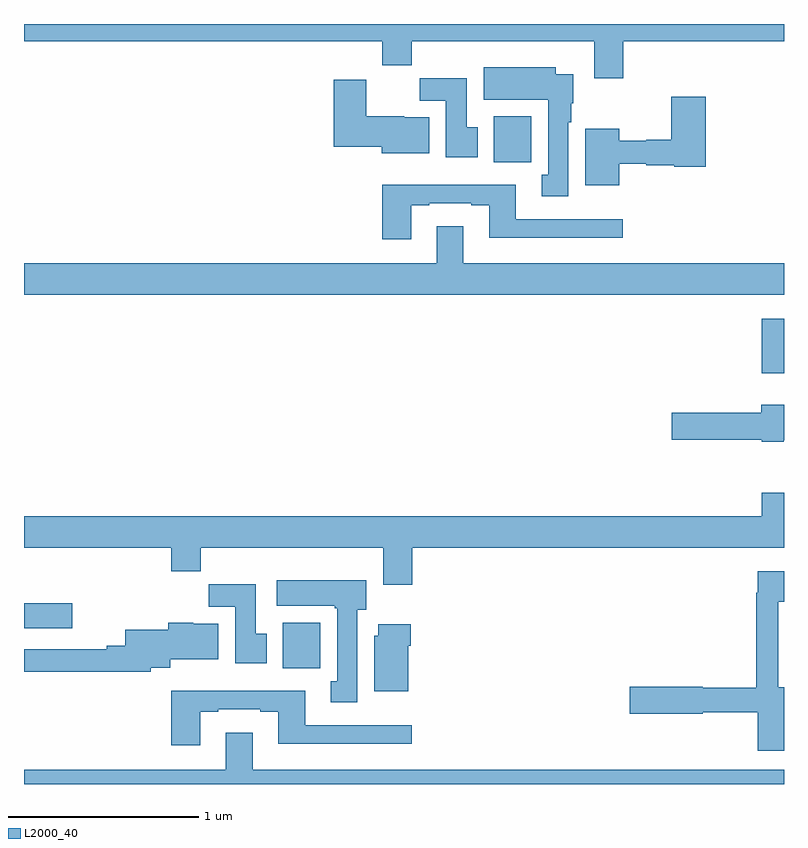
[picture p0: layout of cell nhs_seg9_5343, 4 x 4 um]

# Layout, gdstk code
import gdstk
lib = gdstk.Library(unit=1e-6, precision=1e-09)
def R(c, l, rs):  # rectangles x0, y0, x1, y1
    for r in rs: c.add(gdstk.rectangle(r[:2], r[2:], *l))
def P(c, l, *ps):  # polygons
    for p in ps: c.add(gdstk.Polygon(p, *l))
L2000_40 = (2000, 40)

nhs_seg9_5343 = lib.new_cell('nhs_seg9_5343')
R(nhs_seg9_5343, L2000_40, [(422.363,1205.108,422.56,1205.35), (421,1205.321,421.255,1205.451), (424.883,1206.662,425,1206.949), (423.473,1207.772,423.67,1208.014)])
P(nhs_seg9_5343, L2000_40, [(424.154,1208.408),(425,1208.408),(425,1208.5),(421,1208.5),(421,1208.408),(422.885,1208.408),(422.885,1208.284),(423.041,1208.284),(423.041,1208.408),(424.001,1208.408),(424.001,1208.214),(424.154,1208.214)],
  [(423.865,1207.982),(423.88,1207.982),(423.88,1208.082),(423.892,1208.082),(423.892,1208.236),(423.799,1208.236),(423.799,1208.272),(423.419,1208.272),(423.419,1208.102),(423.758,1208.102),(423.758,1207.706),(423.725,1207.706),(423.725,1207.593),(423.865,1207.593)],
  [(423.388,1207.956),(423.331,1207.956),(423.331,1208.214),(423.082,1208.214),(423.082,1208.096),(423.221,1208.096),(423.221,1207.8),(423.388,1207.8)],
  [(423.133,1208.008),(423,1208.008),(423,1208.014),(422.8,1208.014),(422.8,1208.206),(422.63,1208.206),(422.63,1207.853),(422.882,1207.853),(422.882,1207.82),(423.133,1207.82)],
  [(424.132,1207.764),(424.275,1207.764),(424.275,1207.756),(424.422,1207.756),(424.422,1207.748),(424.589,1207.748),(424.589,1208.116),(424.406,1208.116),(424.406,1207.892),(424.275,1207.892),(424.275,1207.885),(424.132,1207.885),(424.132,1207.948),(423.953,1207.948),(423.953,1207.652),(424.132,1207.652)],
  [(423.037,1207.545),(423.133,1207.545),(423.133,1207.557),(423.353,1207.557),(423.353,1207.545),(423.449,1207.545),(423.449,1207.376),(424.15,1207.376),(424.15,1207.473),(423.589,1207.473),(423.589,1207.654),(422.885,1207.654),(422.885,1207.368),(423.037,1207.368)],
  [(425,1207.24),(423.313,1207.24),(423.313,1207.435),(423.173,1207.435),(423.173,1207.24),(421,1207.24),(421,1207.076),(425,1207.076)],
  [(424.998,1206.308),(425,1206.308),(425,1206.496),(424.88,1206.496),(424.88,1206.455),(424.41,1206.455),(424.41,1206.313),(424.884,1206.313),(424.884,1206.302),(424.998,1206.302)],
  [(423.044,1205.744),(425,1205.744),(425,1206.032),(424.883,1206.032),(424.883,1205.908),(421,1205.908),(421,1205.744),(421.775,1205.744),(421.775,1205.62),(421.931,1205.62),(421.931,1205.744),(422.891,1205.744),(422.891,1205.55),(423.044,1205.55)],
  [(425,1205.008),(424.971,1205.008),(424.971,1205.459),(425,1205.459),(425,1205.62),(424.863,1205.62),(424.863,1205.507),(424.855,1205.507),(424.855,1205.006),(424.572,1205.006),(424.572,1205.012),(424.188,1205.012),(424.188,1204.87),(424.572,1204.87),(424.572,1204.878),(424.862,1204.878),(424.862,1204.674),(425,1204.674)],
  [(422.755,1205.418),(422.8,1205.418),(422.8,1205.572),(422.331,1205.572),(422.331,1205.438),(422.635,1205.438),(422.635,1205.425),(422.648,1205.425),(422.648,1205.042),(422.615,1205.042),(422.615,1204.929),(422.755,1204.929)],
  [(422.278,1205.292),(422.221,1205.292),(422.221,1205.551),(421.972,1205.551),(421.972,1205.432),(422.111,1205.432),(422.111,1205.136),(422.278,1205.136)],
  [(421.667,1205.111),(421.771,1205.111),(421.771,1205.156),(422.023,1205.156),(422.023,1205.344),(421.89,1205.344),(421.89,1205.35),(421.76,1205.35),(421.76,1205.311),(421.532,1205.311),(421.532,1205.228),(421.436,1205.228),(421.436,1205.208),(421,1205.208),(421,1205.092),(421.667,1205.092)],
  [(423.022,1205.228),(423.035,1205.228),(423.035,1205.341),(422.864,1205.341),(422.864,1205.28),(422.843,1205.28),(422.843,1204.988),(423.022,1204.988)],
  [(421.927,1204.881),(422.023,1204.881),(422.023,1204.893),(422.243,1204.893),(422.243,1204.881),(422.339,1204.881),(422.339,1204.712),(423.04,1204.712),(423.04,1204.809),(422.479,1204.809),(422.479,1204.99),(421.775,1204.99),(421.775,1204.704),(421.927,1204.704)],
  [(425,1204.576),(422.203,1204.576),(422.203,1204.771),(422.063,1204.771),(422.063,1204.576),(421,1204.576),(421,1204.5),(425,1204.5)])

lib.write_gds('nhs_seg9_5343.gds')
